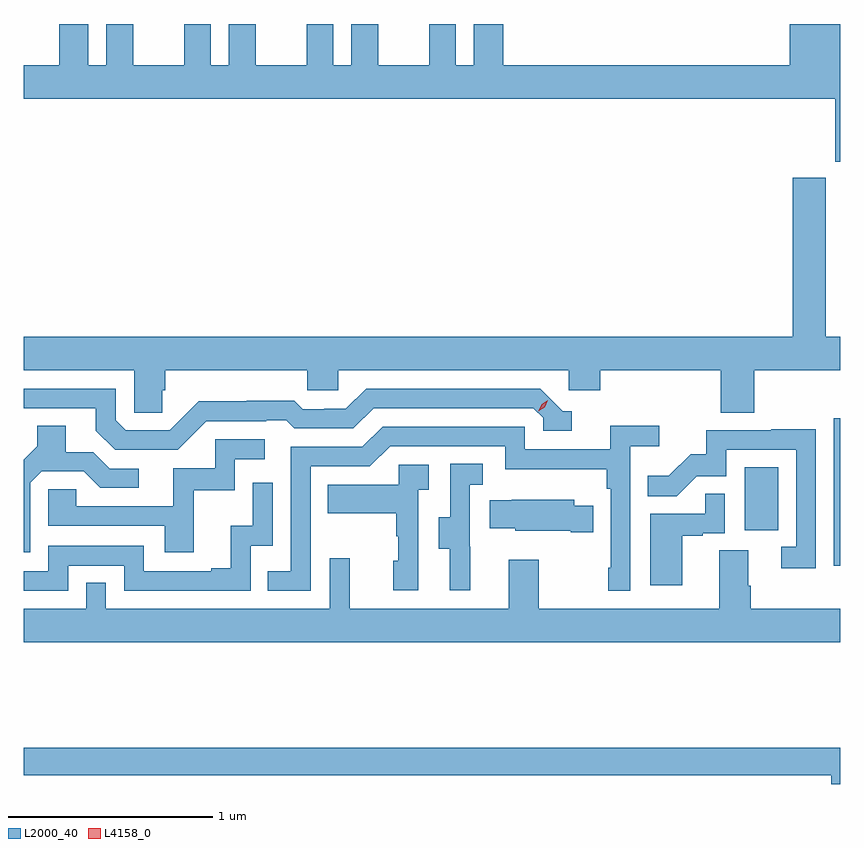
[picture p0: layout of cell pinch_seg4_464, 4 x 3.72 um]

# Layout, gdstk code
import gdstk
lib = gdstk.Library(unit=1e-6, precision=1e-09)
def R(c, l, rs):  # rectangles x0, y0, x1, y1
    for r in rs: c.add(gdstk.rectangle(r[:2], r[2:], *l))
def P(c, l, *ps):  # polygons
    for p in ps: c.add(gdstk.Polygon(p, *l))
L2000_40 = (2000, 40)
L4158_0 = (4158, 0)

pinch_seg4_464 = lib.new_cell('pinch_seg4_464')
R(pinch_seg4_464, L2000_40, [(907.058,758.568,907.089,759.289), (906.62,758.742,906.784,759.049)])
P(pinch_seg4_464, L2000_40, [(907.089,761.221),(906.842,761.221),(906.842,761.02),(905.438,761.02),(905.438,761.221),(905.294,761.221),(905.294,761.02),(905.206,761.02),(905.206,761.221),(905.075,761.221),(905.075,761.02),(904.825,761.02),(904.825,761.221),(904.694,761.221),(904.694,761.02),(904.606,761.02),(904.606,761.221),(904.475,761.221),(904.475,761.02),(904.225,761.02),(904.225,761.221),(904.094,761.221),(904.094,761.02),(904.006,761.02),(904.006,761.221),(903.875,761.221),(903.875,761.02),(903.625,761.02),(903.625,761.221),(903.494,761.221),(903.494,761.02),(903.406,761.02),(903.406,761.221),(903.263,761.221),(903.263,761.02),(903.089,761.02),(903.089,760.856),(907.064,760.856),(907.064,760.547),(907.089,760.547)],
  [(903.767,759.426),(903.782,759.426),(903.782,759.524),(904.479,759.524),(904.479,759.426),(904.629,759.426),(904.629,759.524),(905.76,759.524),(905.76,759.426),(905.912,759.426),(905.912,759.524),(906.503,759.524),(906.503,759.316),(906.668,759.316),(906.668,759.524),(907.089,759.524),(907.089,759.688),(907.017,759.688),(907.017,760.468),(906.857,760.468),(906.857,759.688),(903.089,759.688),(903.089,759.524),(903.63,759.524),(903.63,759.316),(903.767,759.316)],
  [(903.984,759.276),(904.277,759.276),(904.277,759.279),(904.376,759.279),(904.415,759.24),(904.704,759.24),(904.803,759.339),(905.586,759.339),(905.634,759.291),(905.634,759.228),(905.773,759.228),(905.773,759.324),(905.73,759.324),(905.619,759.435),(904.766,759.435),(904.667,759.336),(904.56,759.336),(904.56,759.333),(904.457,759.333),(904.415,759.376),(904.182,759.376),(904.182,759.373),(903.946,759.373),(903.804,759.231),(903.588,759.231),(903.54,759.279),(903.54,759.435),(903.089,759.435),(903.089,759.339),(903.443,759.339),(903.443,759.229),(903.537,759.135),(903.843,759.135)],
  [(903.12,758.973),(903.177,759.03),(903.383,759.03),(903.464,758.949),(903.652,758.949),(903.652,759.042),(903.51,759.042),(903.43,759.122),(903.295,759.122),(903.295,759.254),(903.155,759.254),(903.155,759.152),(903.089,759.086),(903.089,758.634),(903.12,758.634)],
  [(904.494,759.054),(904.785,759.054),(904.884,759.153),(905.448,759.153),(905.448,759.041),(905.944,759.041),(905.944,758.945),(905.964,758.945),(905.964,758.557),(905.952,758.557),(905.952,758.445),(906.06,758.445),(906.06,759.152),(906.202,759.152),(906.202,759.254),(905.963,759.254),(905.963,759.138),(905.544,759.138),(905.544,759.249),(904.847,759.249),(904.748,759.15),(904.398,759.15),(904.398,758.541),(904.285,758.541),(904.285,758.445),(904.494,758.445)],
  [(906.969,759.236),(906.751,759.236),(906.751,759.231),(906.433,759.231),(906.433,759.114),(906.356,759.114),(906.249,759.007),(906.145,759.007),(906.145,758.908),(906.289,758.908),(906.387,759.006),(906.531,759.006),(906.531,759.135),(906.873,759.135),(906.873,758.661),(906.801,758.661),(906.801,758.556),(906.969,758.556)],
  [(903.923,758.937),(904.122,758.937),(904.122,759.09),(904.27,759.09),(904.27,759.186),(904.026,759.186),(904.026,759.045),(903.821,759.045),(903.821,758.859),(903.347,758.859),(903.347,758.943),(903.21,758.943),(903.21,758.763),(903.779,758.763),(903.779,758.634),(903.923,758.634)],
  [(905.276,758.661),(905.274,758.661),(905.274,758.965),(905.338,758.965),(905.338,759.068),(905.178,759.068),(905.178,758.805),(905.123,758.805),(905.123,758.65),(905.177,758.65),(905.177,758.448),(905.276,758.448)],
  [(905.022,758.939),(905.074,758.939),(905.074,759.063),(904.926,759.063),(904.926,758.965),(904.579,758.965),(904.579,758.825),(904.914,758.825),(904.914,758.711),(904.924,758.711),(904.924,758.592),(904.898,758.592),(904.898,758.448),(905.022,758.448)],
  [(903.306,758.568),(903.582,758.568),(903.582,758.445),(904.2,758.445),(904.2,758.664),(904.308,758.664),(904.308,758.974),(904.212,758.974),(904.212,758.762),(904.103,758.762),(904.103,758.554),(904.007,758.554),(904.007,758.541),(903.678,758.541),(903.678,758.664),(903.21,758.664),(903.21,758.541),(903.089,758.541),(903.089,758.445),(903.306,758.445)],
  [(906.316,758.715),(906.416,758.715),(906.416,758.727),(906.522,758.727),(906.522,758.921),(906.427,758.921),(906.427,758.823),(906.158,758.823),(906.158,758.472),(906.316,758.472)],
  [(905.879,758.86),(905.785,758.86),(905.785,758.89),(905.479,758.89),(905.479,758.887),(905.371,758.887),(905.371,758.75),(905.496,758.75),(905.496,758.738),(905.768,758.738),(905.768,758.731),(905.879,758.731)],
  [(907.089,758.356),(906.65,758.356),(906.65,758.468),(906.637,758.468),(906.637,758.642),(906.497,758.642),(906.497,758.356),(905.613,758.356),(905.613,758.596),(905.465,758.596),(905.465,758.356),(904.685,758.356),(904.685,758.605),(904.587,758.605),(904.587,758.356),(903.492,758.356),(903.492,758.483),(903.396,758.483),(903.396,758.356),(903.089,758.356),(903.089,758.192),(907.089,758.192)],
  [(907.089,757.676),(903.089,757.676),(903.089,757.54),(907.046,757.54),(907.046,757.498),(907.089,757.498)])
P(pinch_seg4_464, L4158_0, [(905.61,759.325),(905.61,759.325),(905.626,759.358),(905.657,759.377),(905.657,759.377),(905.657,759.377),(905.641,759.344),(905.61,759.325)])

lib.write_gds('pinch_seg4_464.gds')
